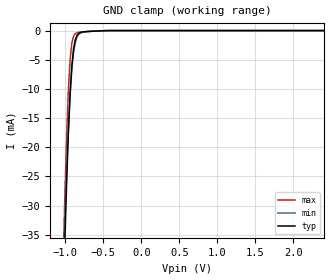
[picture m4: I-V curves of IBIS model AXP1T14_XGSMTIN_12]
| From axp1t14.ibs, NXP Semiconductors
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|   Model AXP1T14_XGSMTIN_12
[Model]   AXP1T14_XGSMTIN_12
Model_type   Input
Vinl = 0.33V
Vinh = 0.91V
C_comp   0.3065pF   0.2800pF   0.3323pF
[Model Spec]
| Note: The input and output voltage ratings may be exceeded if the input and
|   output current ratings are observed (please refer to the data sheet)
|   Subparameter   typ   min   max
| Hysteresis
Vinh+   0.84   0.77   0.91   | Overrides the
Vinh-   0.48   0.44   0.52   | thresholds
Vinl+   0.72   0.66   0.78
Vinl-   0.36   0.33   0.39
| Overshoot
S_overshoot_high   2.75   2.75   2.75
S_overshoot_low   -0.5   -0.5   -0.5
D_overshoot_high   3.3   3.3   3.3
D_overshoot_low   -0.95   -0.9   -1.0
D_overshoot_time   3n   3n   3n
|Ambient temperature:   25   85   -40
[Temperature Range]   30   90   -35
[Voltage Range]   1.2   1.1   1.3
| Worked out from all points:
|   GND clamp passes 1 mA (typ) near -0.85 V on its own axis
|Process Range   nominal   slow   fast
[GND_clamp]
|   voltage   I(typ)   I(min)   I(max)
-2.75V    -1.14A     -1.056A    -1.22A
-1.031V   -46.98mA   -42.1mA    -39.97mA
-1.008V   -36.19mA   -32.68mA   -28.49mA
-985.4mV  -26.37mA   -24.2mA    -18.44mA
-962.5mV  -17.85mA   -16.89mA   -10.45mA
-939.6mV  -11.01mA   -10.99mA   -5.054mA
-916.7mV  -6.142mA   -6.653mA   -2.184mA
-893.8mV  -3.146mA   -3.785mA   -973.2uA
-847.9mV  -817.1uA   -1.152mA   -364.2uA
-756.2mV  -211.8uA   -232.8uA   -210.2uA
-412.5mV  -4.391uA   -7.311uA   -1.99uA
5.5V      0A         0A         0A
